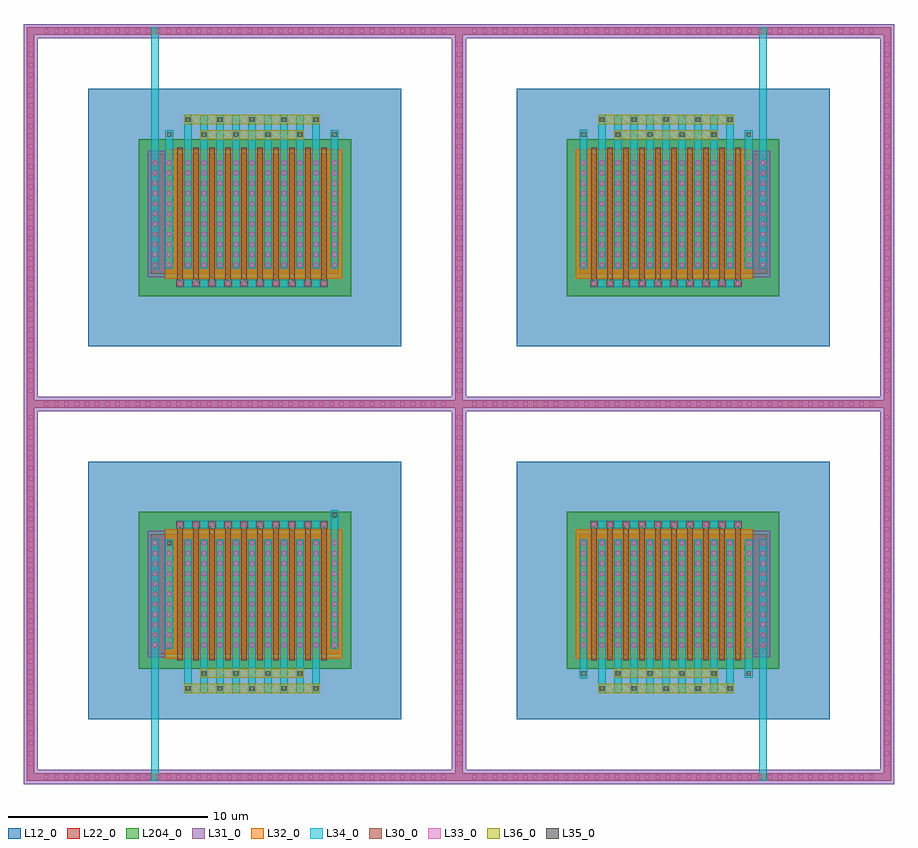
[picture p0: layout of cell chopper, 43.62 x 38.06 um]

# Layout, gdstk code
from math import pi, radians
import gdstk
lib = gdstk.Library(unit=1e-6, precision=1e-09)
def R(c, l, rs):  # rectangles x0, y0, x1, y1
    for r in rs: c.add(gdstk.rectangle(r[:2], r[2:], *l))
def A(c, l, x, y, w, h, nx, ny, dx, dy):  # array of equal rectangles
    R(c, l, [(x+i*dx, y+j*dy, x+i*dx+w, y+j*dy+h) for i in range(nx) for j in range(ny)])
def P(c, l, *ps):  # polygons
    for p in ps: c.add(gdstk.Polygon(p, *l))
L12_0 = (12, 0)
L22_0 = (22, 0)
L30_0 = (30, 0)
L31_0 = (31, 0)
L32_0 = (32, 0)
L33_0 = (33, 0)
L34_0 = (34, 0)
L35_0 = (35, 0)
L36_0 = (36, 0)
L204_0 = (204, 0)

nfet = lib.new_cell('nfet')
R(nfet, L12_0, [(-3.55,-3.26,12.12,9.632)])
R(nfet, L22_0, [(-0.42,0,0,6), (0,0,7.86,6), (7.86,0,8.28,6), (8.28,0,8.99,6)])
P(nfet, L22_0, [(-6.63,-6.34),(-6.63,12.332),(-6.25,12.332),(-6.25,-5.96),(14.82,-5.96),(14.82,12.332),(-6.63,12.332),(-6.63,12.712),(15.2,12.712),(15.2,-6.34)])
A(nfet, L30_0, 0.19, -0.3, 0.28, 6.6, 10, 1, 0.8, 0)
A(nfet, L30_0, 0.15, 6.3, 0.36, 0.36, 10, 1, 0.8, 0)
R(nfet, L31_0, [(8.28,-0.17,9.16,6.17)])
P(nfet, L31_0, [(-6.8,-6.51),(-6.8,12.162),(-6.08,12.162),(-6.08,-5.79),(14.65,-5.79),(14.65,12.162),(-6.8,12.162),(-6.8,12.882),(15.37,12.882),(15.37,-6.51)])
R(nfet, L32_0, [(-0.59,-0.24,8.28,6.24)])
A(nfet, L33_0, -5.77, -6.26, 0.22, 0.22, 40, 2, 0.51, 18.672)
A(nfet, L33_0, -6.55, -5.594, 0.22, 0.22, 1, 35, 0, 0.51)
A(nfet, L33_0, 14.9, -5.594, 0.22, 0.22, 1, 35, 0, 0.51)
A(nfet, L33_0, -0.32, 0.34, 0.22, 0.22, 1, 11, 0, 0.51)
A(nfet, L33_0, 0.62, 0.34, 0.22, 0.22, 9, 11, 0.8, 0.51)
A(nfet, L33_0, 7.96, 0.34, 0.22, 0.22, 1, 11, 0, 0.51)
A(nfet, L33_0, 8.67, 0.34, 0.22, 0.22, 1, 11, 0, 0.51)
A(nfet, L33_0, 0.22, 6.37, 0.22, 0.22, 10, 1, 0.8, 0)
A(nfet, L34_0, 0.54, 0.26, 0.38, 5.48, 9, 1, 0.8, 0)
A(nfet, L34_0, 0.14, 6.289, 0.38, 0.382, 10, 1, 0.8, 0)
R(nfet, L34_0, [(-0.4,0.26,-0.02,5.74), (7.88,0.26,8.26,5.74), (8.59,0.26,8.97,5.74)])
R(nfet, L204_0, [(-1.04,-0.75,9.61,7.122)])

chopper = lib.new_cell('chopper')
R(chopper, L12_0, [(-10.35,-16.429,5.32,-3.539)])
R(chopper, L22_0, [(-7.22,-12.798,-6.51,-6.798), (-6.51,-12.798,-6.09,-6.798), (-6.09,-12.798,1.77,-6.798), (1.77,-12.798,2.19,-6.798)])
P(chopper, L22_0, [(-13.43,-19.51),(-13.43,-0.458),(8.4,-0.458),(8.4,-19.13),(8.02,-19.13),(8.02,-0.838),(-13.05,-0.838),(-13.05,-19.13),(8.4,-19.13),(8.4,-19.51)])
A(chopper, L30_0, -5.94, -13.458, 0.36, 0.36, 10, 1, 0.8, 0)
A(chopper, L30_0, -5.9, -13.098, 0.28, 6.6, 10, 1, 0.8, 0)
R(chopper, L31_0, [(-7.39,-12.968,-6.51,-6.628)])
P(chopper, L31_0, [(-13.6,-19.68),(-13.6,-0.288),(8.57,-0.288),(8.57,-18.96),(7.85,-18.96),(7.85,-1.008),(-12.88,-1.008),(-12.88,-18.96),(8.57,-18.96),(8.57,-19.68)])
R(chopper, L32_0, [(-6.51,-13.038,2.36,-6.558)])
A(chopper, L33_0, -12.57, -19.43, 0.22, 0.22, 40, 2, 0.51, 18.672)
A(chopper, L33_0, -13.35, -18.764, 0.22, 0.22, 1, 35, 0, 0.51)
A(chopper, L33_0, 8.1, -18.764, 0.22, 0.22, 1, 35, 0, 0.51)
A(chopper, L33_0, -5.87, -13.388, 0.22, 0.22, 10, 1, 0.8, 0)
A(chopper, L33_0, -7.12, -12.458, 0.22, 0.22, 1, 11, 0, 0.51)
A(chopper, L33_0, -6.41, -12.458, 0.22, 0.22, 1, 11, 0, 0.51)
A(chopper, L33_0, -5.47, -12.458, 0.22, 0.22, 9, 11, 0.8, 0.51)
A(chopper, L33_0, 1.87, -12.458, 0.22, 0.22, 1, 11, 0, 0.51)
A(chopper, L34_0, -5.55, -33.8, 0.38, 2.218, 9, 2, 0.8, 26.742)
A(chopper, L34_0, 15.19, -33.8, 0.38, 2.218, 9, 2, 0.8, 26.742)
A(chopper, L34_0, -5.95, -13.469, 0.38, 0.382, 10, 1, 0.8, 0)
A(chopper, L34_0, -5.55, -12.538, 0.38, 5.48, 9, 1, 0.8, 0)
R(chopper, L34_0, [(-7.2,-38.18,-6.82,-31.58), (23.24,-38.18,23.62,-31.58), (14.25,-33.05,14.63,-31.582), (22.53,-33.04,22.91,-31.582), (1.79,-26.1,2.17,-24.642), (-5.95,-25.551,1.63,-25.169), (14.79,-25.551,22.18,-25.169), (-5.7,-13.469,1.52,-13.087), (14.79,-13.469,22.37,-13.087), (-7.2,-12.538,-6.82,-7.058), (-6.49,-12.538,-6.11,-7.058), (1.79,-12.538,2.17,-7.058), (-7.2,-7.06,-6.82,-0.46), (23.24,-7.06,23.62,-0.46), (-6.49,-7.058,-6.11,-5.6), (1.79,-7.058,2.17,-5.6), (14.25,-7.058,14.63,-5.59), (22.53,-7.058,22.91,-5.6)])
A(chopper, L35_0, -5.47, -33.67, 0.22, 0.22, 5, 2, 1.6, 28.48)
A(chopper, L35_0, 15.27, -33.67, 0.22, 0.22, 5, 2, 1.6, 28.48)
A(chopper, L35_0, -4.67, -32.92, 0.22, 0.22, 4, 2, 1.6, 26.98)
A(chopper, L35_0, 16.07, -32.92, 0.22, 0.22, 4, 2, 1.6, 26.98)
R(chopper, L35_0, [(14.33,-32.92,14.55,-32.7), (22.61,-32.92,22.83,-32.7), (-6.41,-26.402,-6.19,-26.182), (1.87,-24.982,2.09,-24.762), (-6.41,-5.94,-6.19,-5.72), (1.87,-5.94,2.09,-5.72), (14.33,-5.94,14.55,-5.72), (22.61,-5.94,22.83,-5.72)])
R(chopper, L36_0, [(-5.55,-33.8,1.23,-33.34), (15.19,-33.8,21.97,-33.34), (-4.75,-33.04,0.43,-32.58), (15.99,-33.04,21.17,-32.58), (-4.75,-6.06,0.43,-5.6), (15.99,-6.06,21.17,-5.6), (-5.55,-5.3,1.23,-4.84), (15.19,-5.3,21.97,-4.84)])
R(chopper, L204_0, [(-7.84,-13.92,2.81,-6.048)])
chopper.add(gdstk.Reference(nfet, (14.65,-6.798), x_reflection=True))
chopper.add(gdstk.Reference(nfet, (14.65,-31.84)))
chopper.add(gdstk.Reference(nfet, (1.77,-31.84), rotation=pi, x_reflection=True))

lib.write_gds('chopper.gds')
